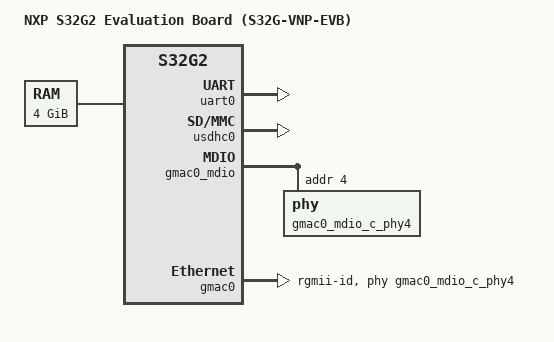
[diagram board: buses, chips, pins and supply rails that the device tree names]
// SPDX-License-Identifier: GPL-2.0-or-later OR MIT
/*
 * Copyright (c) 2021 SUSE LLC
 * Copyright (c) 2019-2021 NXP
 */

/dts-v1/;

#include "s32g2.dtsi"

/ {
	model = "NXP S32G2 Evaluation Board (S32G-VNP-EVB)";
	compatible = "nxp,s32g274a-evb", "nxp,s32g2";

	aliases {
		serial0 = &uart0;
	};

	chosen {
		stdout-path = "serial0:115200n8";
	};

	/* 4GiB RAM */
	memory@80000000 {
		device_type = "memory";
		reg = <0x0 0x80000000 0 0x80000000>,
		      <0x8 0x80000000 0 0x80000000>;
	};
};

/* UART (J58) to Micro USB port */
&uart0 {
	status = "okay";
};

&usdhc0 {
	status = "okay";
};

&pinctrl0 {
	pinctrl0_gmac0_mdio_c: gmac0mdiocgrp {
		fsl,pins = <
			S32G2_PD12_GMAC0_MDC
			S32G2_PD13_GMAC0_MDIO_OUT
			S32G2_PD13_GMAC0_MDIO_IN
		>;
	};

	pinctrl0_gmac0_rgmii_c: gmac0rgmiicgrp {
		fsl,pins = <
			S32G2_PE2_GMAC0_TXCLK_OUT
			S32G2_PE2_GMAC0_TXCLK_IN
			S32G2_PE3_GMAC0_TXEN_OUT
			S32G2_PE4_GMAC0_TXD0_OUT
			S32G2_PE5_GMAC0_TXD1_OUT
			S32G2_PE6_GMAC0_TXD2_OUT
			S32G2_PE7_GMAC0_TXD3_OUT
			S32G2_PE8_GMAC0_RXCLK_OUT
			S32G2_PE8_GMAC0_RXCLK_IN
			S32G2_PE9_GMAC0_RXDV_OUT
			S32G2_PE9_GMAC0_RXDV_IN
			S32G2_PE10_GMAC0_RXD0_OUT
			S32G2_PE10_GMAC0_RXD0_IN
			S32G2_PE11_GMAC0_RXD1_OUT
			S32G2_PE11_GMAC0_RXD1_IN
			S32G2_PE12_GMAC0_RXD2_OUT
			S32G2_PE12_GMAC0_RXD2_IN
			S32G2_PE13_GMAC0_RXD3_OUT
			S32G2_PE13_GMAC0_RXD3_IN
		>;
	};
};

&gmac0_mdio {
	/* KSZ9031RNX */
	gmac0_mdio_c_phy4: phy@4 {
		reg = <4>;
	};
};

&gmac0 {
	status = "okay";
	phy-mode = "rgmii-id";
	phy-handle = <&gmac0_mdio_c_phy4>;
	pinctrl-names = "default";
	pinctrl-0 = <&pinctrl0_gmac0_mdio_c>, <&pinctrl0_gmac0_rgmii_c>;
};
